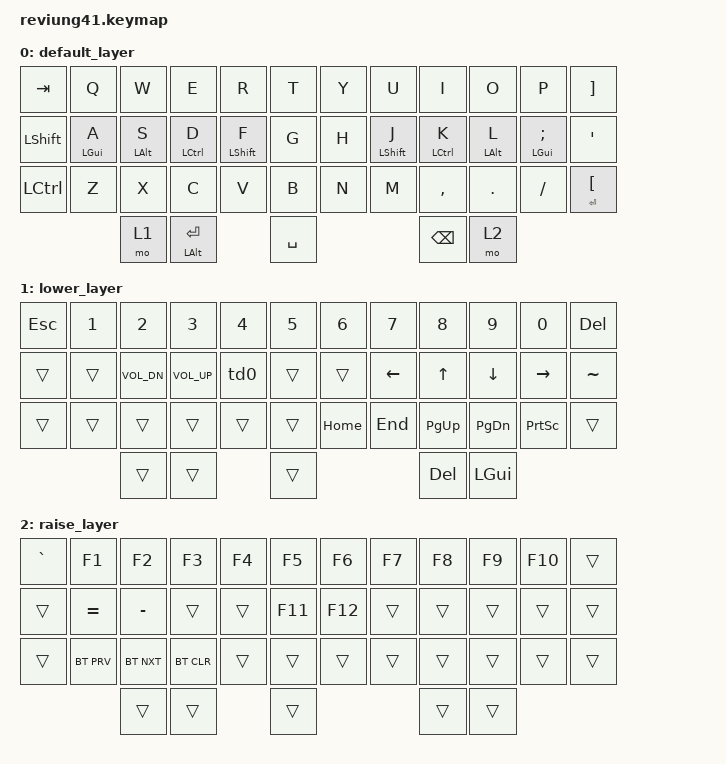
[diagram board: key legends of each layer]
/*
   Copyright (c) 2020 The ZMK Contributors
 
   SPDX-License-Identifier: MIT
   
   
   
   
 */





#include <behaviors.dtsi>
#include <dt-bindings/zmk/keys.h>
#include <dt-bindings/zmk/bt.h>
#include <dt-bindings/zmk/rgb.h>

/ {

 behaviors {
       td0: tap_dance_0 {
            compatible = "zmk,behavior-tap-dance";
            label = "TAP_DANCE_0";
            #binding-cells = <0>;
            tapping-term-ms = <200>;
            bindings = <&kp C_PP>, <&kp C_NEXT>, <&kp C_PREV>;
        };
        
       td1: tap_dance_1 {
            compatible = "zmk,behavior-tap-dance";
            label = "TAP_DANCE_1";
            #binding-cells = <0>;
            tapping-term-ms = <200>;
            bindings = <&kp RET>, <&kp LALT>;
        };
    };
};

&mt {
    tapping-term-ms = <300>;
};



/ {
        keymap {
                compatible = "zmk,keymap";

                default_layer {

                        bindings = <
   &kp TAB           &kp Q             &kp W            &kp E           &kp R        &kp T              &kp Y         &kp U               &kp I           &kp O             &kp P              &kp RBKT
   &kp LSHFT         &mt LGUI A        &mt LALT S       &mt LCTRL D     &mt LSHFT F  &kp G              &kp H         &mt LSHFT J         &mt LCTRL K     &mt LALT L        &mt LGUI SEMI      &kp SQT
   &kp LCTRL         &kp Z             &kp X            &kp C           &kp V        &kp B              &kp N         &kp M               &kp COMMA       &kp DOT           &kp FSLH           &mt RET LBKT
                                       &mo 1         &mt LALT RET                           &kp SPACE                            &kp BSPC        &mo 2
                        >;
                };

                lower_layer {

                        bindings = <
   &kp ESC &kp N1  &kp N2       &kp N3       &kp N4  &kp N5        &kp N6   &kp N7   &kp N8    &kp N9    &kp N0    &kp DEL
   &trans  &trans  &kp C_VOL_DN &kp C_VOL_UP &td0    &trans        &trans   &kp LEFT &kp UP    &kp DOWN  &kp RIGHT &kp TILDE
   &trans  &trans  &trans       &trans       &trans  &trans        &kp HOME &kp END  &kp PG_UP &kp PG_DN &kp PSCRN &trans
                                    &trans     &trans       &trans      &kp DEL       &kp LGUI
                        >;
                };

                raise_layer {

                        bindings = <
   &kp GRAVE &kp F1     &kp F2     &kp F3     &kp F4 &kp F5        &kp F6  &kp F7 &kp F8 &kp F9 &kp F10 &trans
   &trans    &kp EQUAL  &kp MINUS  &trans     &trans &kp F11       &kp F12 &trans &trans &trans &trans  &trans
   &trans    &bt BT_PRV &bt BT_NXT &bt BT_CLR &trans &trans        &trans  &trans &trans &trans &trans  &trans
                                    &trans      &trans      &trans      &trans      &trans
                        >;
                };
        };
};
